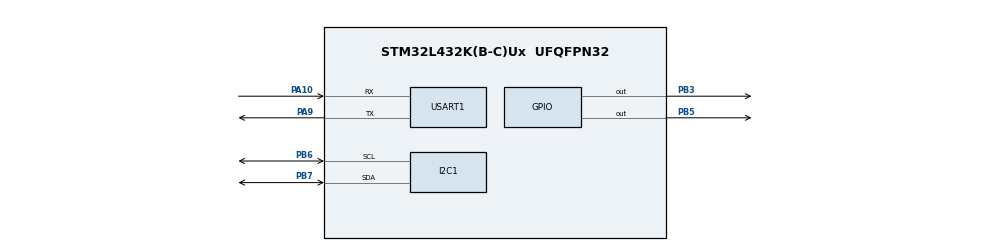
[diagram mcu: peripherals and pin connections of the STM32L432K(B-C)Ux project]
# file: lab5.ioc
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Mcu.Family=STM32L4
Mcu.Name=STM32L432K(B-C)Ux
Mcu.Package=UFQFPN32
NVIC.PriorityGroup=NVIC_PRIORITYGROUP_4
NVIC.USART1_IRQn=true\:0\:0\:false\:false\:true\:true\:true
PA10.Mode=Asynchronous
PA10.Signal=USART1_RX
PA13\ (JTMS-SWDIO).Mode=Serial_Wire
PA13\ (JTMS-SWDIO).Signal=SYS_JTMS-SWDIO
PA14\ (JTCK-SWCLK).Mode=Serial_Wire
PA14\ (JTCK-SWCLK).Signal=SYS_JTCK-SWCLK
PA9.Mode=Asynchronous
PA9.Signal=USART1_TX
PB3\ (JTDO-TRACESWO).Signal=GPIO_Output
PB5.Signal=GPIO_Output
PB6.Mode=I2C
PB6.Signal=I2C1_SCL
PB7.Mode=I2C
PB7.Signal=I2C1_SDA
PC14-OSC32_IN\ (PC14).Mode=LSE-External-Oscillator
PC14-OSC32_IN\ (PC14).Signal=RCC_OSC32_IN
PC15-OSC32_OUT\ (PC15).Mode=LSE-External-Oscillator
PC15-OSC32_OUT\ (PC15).Signal=RCC_OSC32_OUT
ProjectManager.HeapSize=0x200
ProjectManager.StackSize=0x400
ProjectManager.TargetToolchain=MDK-ARM V5
RCC.HSE_VALUE=8000000
RCC.HSI48_VALUE=48000000
RCC.HSI_VALUE=16000000
RCC.MSI_VALUE=4000000
RCC.VCOOutputFreq_Value=32000000
USART1.VirtualMode-Asynchronous=VM_ASYNC
board=custom

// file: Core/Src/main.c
/* USER CODE BEGIN Header */
/**
  ******************************************************************************
  * @file           : main.c
  * @brief          : Main program body
  ******************************************************************************
  * @attention
  *
  * <h2><center>&copy; Copyright (c) 2021 STMicroelectronics.
  * All rights reserved.</center></h2>
  *
  * This software component is licensed by ST under Ultimate Liberty license
  * SLA0044, the "License"; You may not use this file except in compliance with
  * the License. You may obtain a copy of the License at:
  *                             www.st.com/SLA0044
  *
  ******************************************************************************
  */
/* USER CODE END Header */

/* USER CODE BEGIN Includes */
#include "main.h"
#include "taskQueue.h"
#include "math.h"
#include "stdlib.h"
/* USER CODE END Includes */

/* USER CODE BEGIN PM */
static const uint16_t MAX_SIZE = 16;
static struct taskQueue main_que;
static struct taskQueue delayed_que;

volatile uint16_t ticks = 0;
volatile char timerFlag = 0;

char h[2];
float temp;
int thr=55555;
/* USER CODE END PM */

I2C_HandleTypeDef hi2c1;

UART_HandleTypeDef huart1;

void SystemClock_Config(void);
static void MX_GPIO_Init(void);
static void MX_USART1_UART_Init(void);
static void MX_I2C1_Init(void);
/* USER CODE BEGIN PFP */
uint8_t hexToAscii(uint8_t n)//4-bit hex value converted to an ascii character
{
 if (n>=0 && n<=9) n = n + '0';
 else n = n - 10 + 'A';
 return n;
}
float concat(uint8_t a, uint8_t b){
    float c;
    c = (float)b;
    while( c > 1.0f ) c *= 0.1f; //moving the decimal point (.) to left most
    c = (float)a + c;
    return c;
}
/* USER CODE END PFP */

/* USER CODE BEGIN 0 */

// Enqueue task in the main queue
static void QueTask(funcPtr f, uint16_t priority)
{
    enqueue(&main_que, f, priority, 0);
}

// dispatch a task and run it if available, otherwise display 'IDLE'

static void dispatch()
{
    // handling the tasks in the delayed Queue first
    decrementDelay(&delayed_que, ticks);
    // enqueue the ready ones to the main Queue
    pushReady(&delayed_que, &main_que);
    // new dispatch --> ticks = 0 for the rest of the tasks
    ticks = 0;
    // dispatch tasks if available
    if (main_que.currentSize > 0)
        dequeue(&main_que).f();
    else
        //printf("IDLE"); // for test purposes
		HAL_UART_Transmit(&huart1 , "IDLE\r\n" , sizeof("IDLE\r\n") , HAL_MAX_DELAY ) ;
}

static void ReRunMe(funcPtr f, uint16_t priority, uint16_t delay)
{
    //enqueue to the main queue if the task is not delayed, otherwise enqueue in the delayed Queue
    if (delay == 0)
        enqueue(&main_que, f, priority, delay);
    else
        enqueue(&delayed_que, f, priority, delay);
}

// initialize Hardware peripherals and Queues
static void init()
{
    // initialize Hardware
    // hardware_init();

    // initialize queues
    que_init(&main_que, MAX_SIZE);
    que_init(&delayed_que, MAX_SIZE);
}

//example tasks
static void ReadThreshold()
{
		int oper1;
		char c = '\n';
		int oper2;
	HAL_UART_Transmit(&huart1,"READTH\r\n", sizeof("READTH\r\n"), 10);

		HAL_UART_Receive(&huart1,(uint8_t *) &h[0], 1, HAL_MAX_DELAY);
		HAL_Delay(100);
		HAL_UART_Receive(&huart1,(uint8_t *) &h[1], 1, HAL_MAX_DELAY);
		//HAL_Delay(20);
		//HAL_UART_Transmit(&huart1,(uint8_t *) &h[0], 1, 10);
		//HAL_UART_Transmit(&huart1,(uint8_t *) &h[1],1, 10);
		//	if (h[2] == '\r')
		//	{
				//HAL_UART_Transmit(&huart1,(uint8_t *) &c, 1, 10);
				oper1 = h[0] - '0';
				oper2 = h[1] - '0';
				thr = oper1 * pow(10, (int)log10(oper2)+1) + oper2;
				HAL_Delay(100);

		//}
		//ReRunMe(&ReadThreshold, 1, 1);

}
static void BlinkingLED()
{
   	HAL_UART_Transmit(&huart1,"LED\r\n", sizeof("LED\r\n"), 10);

		for (int i = 1; i<=50;i++) // indicator of ready device
		{
		 HAL_GPIO_TogglePin(GPIOB, GPIO_PIN_5);
		}

}
static void GettingTemperature()
{
  HAL_UART_Transmit(&huart1,"GETTM\r\n", sizeof("GETTM\r\n"), 10);

  uint8_t z;
	uint8_t f;
	float temp;
	uint8_t out[] = {0,0,'.',0,0,'\r','\n'};

if (HAL_I2C_IsDeviceReady(&hi2c1, 0xD0, 10, 10) == HAL_OK)
 {
		 for (int i = 1; i<=10;i++) // indicator of ready device
		 {
		 HAL_GPIO_TogglePin(GPIOB, GPIO_PIN_3);
		 HAL_Delay(250);
 }
 }
	 //Transmit via I2C to set clock
	 uint8_t LSB [2], MSB [2];
	 //control reg and status reg
	 uint8_t EOSC [2];
	 EOSC[0]= 0x0E;
	 EOSC[1]= 0x3C;
	 HAL_I2C_Master_Transmit(&hi2c1, 0xD0, EOSC, 2, 10);

	 uint8_t OSF [2];
	 OSF[0]= 0x0F;
	 OSF[1]= 0x88;
	 HAL_I2C_Master_Transmit(&hi2c1, 0xD0, OSF, 2, 10);
	 LSB[0] = 0x11; //register address
   HAL_I2C_Master_Transmit(&hi2c1, 0xD0, LSB, 1, 10);
 	 HAL_I2C_Master_Receive(&hi2c1, 0xD1, LSB+1, 1, 10);
	 out[0] = hexToAscii(LSB[1] >> 4 );
	 out[1] = hexToAscii(LSB[1] & 0x0F );

   MSB[0] = 0x12; //register address
   HAL_I2C_Master_Transmit(&hi2c1, 0xD0, MSB, 2, 10);
 	 HAL_I2C_Master_Receive(&hi2c1, 0xD1, LSB+1, 1, 10);
	 out[3] = hexToAscii(((MSB[1]>>6)/4)>> 4);
	 out[4] = hexToAscii(((MSB[1]>>6)/4) & 0x0F );

   // transmit Data to UART
	 HAL_UART_Transmit(&huart1,out, sizeof(out), 10);
	 int num = atoi((const char*) out);

	 //z = out[3] * pow(10, (int)log10(out[4])+1) + out[4];
	 //f = out[0] * pow(10, (int)log10(out[1])+1) + out[1];
	 //temp= concat(z, f);

		if(num >thr)
		{
			QueTask(&BlinkingLED,1);
		}

	ReRunMe(&GettingTemperature, 1, 600);
}

/* USER CODE END 0 */

int main(void)
{

  /* MCU Configuration--------------------------------------------------------*/

  /* Reset of all peripherals, Initializes the Flash interface and the Systick. */
  HAL_Init();

  /* Configure the system clock */
  SystemClock_Config();

  /* Initialize all configured peripherals */
  MX_GPIO_Init();
  MX_USART1_UART_Init();
  MX_I2C1_Init();
  /* USER CODE BEGIN 2 */
	init();
	QueTask(&ReadThreshold, 1);
	QueTask(&GettingTemperature, 2);
	//QueTask(&BlinkingLED, 3);

  /* USER CODE END 2 */

  /* Infinite loop */
  while (1)
  {

    /* USER CODE BEGIN 3 */
		 if (timerFlag)
        {
            dispatch();
            timerFlag = 0;
        }
  }
  /* USER CODE END 3 */
}

void SystemClock_Config(void)
{
  RCC_OscInitTypeDef RCC_OscInitStruct = {0};
  RCC_ClkInitTypeDef RCC_ClkInitStruct = {0};
  RCC_PeriphCLKInitTypeDef PeriphClkInit = {0};

  /** Configure LSE Drive Capability
  */
  HAL_PWR_EnableBkUpAccess();
  __HAL_RCC_LSEDRIVE_CONFIG(RCC_LSEDRIVE_LOW);
  /** Initializes the RCC Oscillators according to the specified parameters
  * in the RCC_OscInitTypeDef structure.
  */
  RCC_OscInitStruct.OscillatorType = RCC_OSCILLATORTYPE_LSE|RCC_OSCILLATORTYPE_MSI;
  RCC_OscInitStruct.LSEState = RCC_LSE_ON;
  RCC_OscInitStruct.MSIState = RCC_MSI_ON;
  RCC_OscInitStruct.MSICalibrationValue = 0;
  RCC_OscInitStruct.MSIClockRange = RCC_MSIRANGE_6;
  RCC_OscInitStruct.PLL.PLLState = RCC_PLL_NONE;
  if (HAL_RCC_OscConfig(&RCC_OscInitStruct) != HAL_OK)
  {
    Error_Handler();
  }
  /** Initializes the CPU, AHB and APB buses clocks
  */
  RCC_ClkInitStruct.ClockType = RCC_CLOCKTYPE_HCLK|RCC_CLOCKTYPE_SYSCLK
                              |RCC_CLOCKTYPE_PCLK1|RCC_CLOCKTYPE_PCLK2;
  RCC_ClkInitStruct.SYSCLKSource = RCC_SYSCLKSOURCE_MSI;
  RCC_ClkInitStruct.AHBCLKDivider = RCC_SYSCLK_DIV1;
  RCC_ClkInitStruct.APB1CLKDivider = RCC_HCLK_DIV1;
  RCC_ClkInitStruct.APB2CLKDivider = RCC_HCLK_DIV1;

  if (HAL_RCC_ClockConfig(&RCC_ClkInitStruct, FLASH_LATENCY_0) != HAL_OK)
  {
    Error_Handler();
  }
  PeriphClkInit.PeriphClockSelection = RCC_PERIPHCLK_USART1|RCC_PERIPHCLK_I2C1;
  PeriphClkInit.Usart1ClockSelection = RCC_USART1CLKSOURCE_PCLK2;
  PeriphClkInit.I2c1ClockSelection = RCC_I2C1CLKSOURCE_PCLK1;
  if (HAL_RCCEx_PeriphCLKConfig(&PeriphClkInit) != HAL_OK)
  {
    Error_Handler();
  }
  /** Configure the main internal regulator output voltage
  */
  if (HAL_PWREx_ControlVoltageScaling(PWR_REGULATOR_VOLTAGE_SCALE1) != HAL_OK)
  {
    Error_Handler();
  }
  /** Enable MSI Auto calibration
  */
  HAL_RCCEx_EnableMSIPLLMode();
}

static void MX_I2C1_Init(void)
{

  hi2c1.Instance = I2C1;
  hi2c1.Init.Timing = 0x00000E14;
  hi2c1.Init.OwnAddress1 = 0;
  hi2c1.Init.AddressingMode = I2C_ADDRESSINGMODE_7BIT;
  hi2c1.Init.DualAddressMode = I2C_DUALADDRESS_DISABLE;
  hi2c1.Init.OwnAddress2 = 0;
  hi2c1.Init.OwnAddress2Masks = I2C_OA2_NOMASK;
  hi2c1.Init.GeneralCallMode = I2C_GENERALCALL_DISABLE;
  hi2c1.Init.NoStretchMode = I2C_NOSTRETCH_DISABLE;
  if (HAL_I2C_Init(&hi2c1) != HAL_OK)
  {
    Error_Handler();
  }
  /** Configure Analogue filter
  */
  if (HAL_I2CEx_ConfigAnalogFilter(&hi2c1, I2C_ANALOGFILTER_ENABLE) != HAL_OK)
  {
    Error_Handler();
  }
  /** Configure Digital filter
  */
  if (HAL_I2CEx_ConfigDigitalFilter(&hi2c1, 0) != HAL_OK)
  {
    Error_Handler();
  }

}

static void MX_USART1_UART_Init(void)
{

  huart1.Instance = USART1;
  huart1.Init.BaudRate = 115200;
  huart1.Init.WordLength = UART_WORDLENGTH_8B;
  huart1.Init.StopBits = UART_STOPBITS_1;
  huart1.Init.Parity = UART_PARITY_NONE;
  huart1.Init.Mode = UART_MODE_TX_RX;
  huart1.Init.HwFlowCtl = UART_HWCONTROL_NONE;
  huart1.Init.OverSampling = UART_OVERSAMPLING_16;
  huart1.Init.OneBitSampling = UART_ONE_BIT_SAMPLE_DISABLE;
  huart1.AdvancedInit.AdvFeatureInit = UART_ADVFEATURE_NO_INIT;
  if (HAL_UART_Init(&huart1) != HAL_OK)
  {
    Error_Handler();
  }

}

static void MX_GPIO_Init(void)
{
  GPIO_InitTypeDef GPIO_InitStruct = {0};

  /* GPIO Ports Clock Enable */
  __HAL_RCC_GPIOC_CLK_ENABLE();
  __HAL_RCC_GPIOA_CLK_ENABLE();
  __HAL_RCC_GPIOB_CLK_ENABLE();

  /*Configure GPIO pin Output Level */
  HAL_GPIO_WritePin(GPIOB, GPIO_PIN_3|GPIO_PIN_5, GPIO_PIN_RESET);

  /*Configure GPIO pins : PB3 PB5 */
  GPIO_InitStruct.Pin = GPIO_PIN_3|GPIO_PIN_5;
  GPIO_InitStruct.Mode = GPIO_MODE_OUTPUT_PP;
  GPIO_InitStruct.Pull = GPIO_NOPULL;
  GPIO_InitStruct.Speed = GPIO_SPEED_FREQ_LOW;
  HAL_GPIO_Init(GPIOB, &GPIO_InitStruct);

}

void Error_Handler(void)
{
  __disable_irq();
  while (1)
  {
  }
}

/************************ (C) COPYRIGHT STMicroelectronics *****END OF FILE****/
